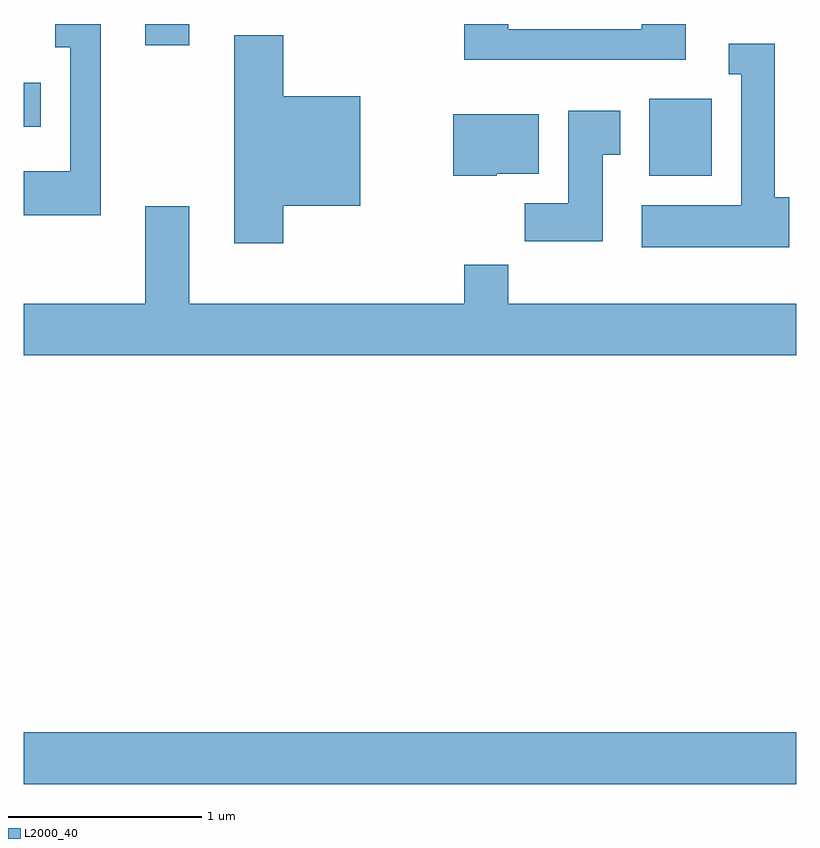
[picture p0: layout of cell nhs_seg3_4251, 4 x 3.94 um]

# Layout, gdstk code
import gdstk
lib = gdstk.Library(unit=1e-6, precision=1e-09)
def R(c, l, rs):  # rectangles x0, y0, x1, y1
    for r in rs: c.add(gdstk.rectangle(r[:2], r[2:], *l))
def P(c, l, *ps):  # polygons
    for p in ps: c.add(gdstk.Polygon(p, *l))
L2000_40 = (2000, 40)

nhs_seg3_4251 = lib.new_cell('nhs_seg3_4251')
R(nhs_seg3_4251, L2000_40, [(309.611,1185.956,313.611,1186.224), (312.851,1189.106,313.174,1189.504), (309.611,1189.361,309.699,1189.589), (310.241,1189.781,310.469,1189.892)])
P(nhs_seg3_4251, L2000_40, [(310.009,1189.892),(309.773,1189.892),(309.773,1189.771),(309.851,1189.771),(309.851,1189.129),(309.611,1189.129),(309.611,1188.901),(310.009,1188.901)],
  [(313.039,1189.892),(312.811,1189.892),(312.811,1189.864),(312.119,1189.864),(312.119,1189.892),(311.891,1189.892),(311.891,1189.706),(313.039,1189.706)],
  [(310.954,1188.951),(311.354,1188.951),(311.354,1189.519),(310.954,1189.519),(310.954,1189.834),(310.701,1189.834),(310.701,1188.756),(310.954,1188.756)],
  [(313.574,1188.994),(313.499,1188.994),(313.499,1189.789),(313.263,1189.789),(313.263,1189.631),(313.326,1189.631),(313.326,1188.954),(312.811,1188.954),(312.811,1188.736),(313.574,1188.736)],
  [(312.609,1189.216),(312.699,1189.216),(312.699,1189.444),(312.431,1189.444),(312.431,1188.964),(312.206,1188.964),(312.206,1188.766),(312.609,1188.766)],
  [(312.06,1189.116),(312.279,1189.116),(312.279,1189.424),(311.836,1189.424),(311.836,1189.106),(312.06,1189.106)],
  [(313.611,1188.444),(312.119,1188.444),(312.119,1188.644),(311.891,1188.644),(311.891,1188.444),(310.469,1188.444),(310.469,1188.949),(310.241,1188.949),(310.241,1188.444),(309.611,1188.444),(309.611,1188.176),(313.611,1188.176)])

lib.write_gds('nhs_seg3_4251.gds')
